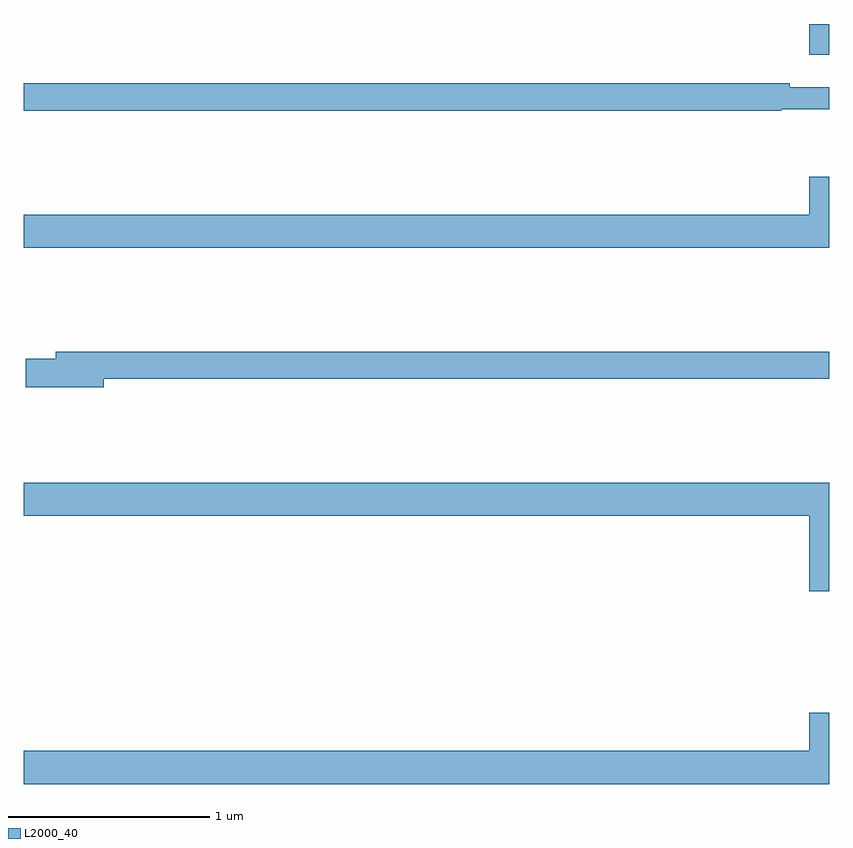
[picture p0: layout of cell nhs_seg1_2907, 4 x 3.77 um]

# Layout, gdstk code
import gdstk
lib = gdstk.Library(unit=1e-6, precision=1e-09)
def R(c, l, rs):  # rectangles x0, y0, x1, y1
    for r in rs: c.add(gdstk.rectangle(r[:2], r[2:], *l))
def P(c, l, *ps):  # polygons
    for p in ps: c.add(gdstk.Polygon(p, *l))
L2000_40 = (2000, 40)

nhs_seg1_2907 = lib.new_cell('nhs_seg1_2907')
R(nhs_seg1_2907, L2000_40, [(272.9,530.046,273,530.199)])
P(nhs_seg1_2907, L2000_40, [(272.762,529.776),(273,529.776),(273,529.885),(272.804,529.885),(272.804,529.904),(269,529.904),(269,529.768),(272.762,529.768)],
  [(273,529.441),(272.9,529.441),(272.9,529.252),(269,529.252),(269,529.088),(273,529.088)],
  [(269.398,528.436),(273,528.436),(273,528.572),(269.159,528.572),(269.159,528.536),(269.01,528.536),(269.01,528.394),(269.398,528.394)],
  [(273,527.92),(269,527.92),(269,527.756),(272.9,527.756),(272.9,527.382),(273,527.382)],
  [(273,526.777),(272.9,526.777),(272.9,526.588),(269,526.588),(269,526.424),(273,526.424)])

lib.write_gds('nhs_seg1_2907.gds')
